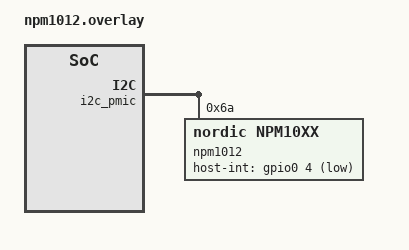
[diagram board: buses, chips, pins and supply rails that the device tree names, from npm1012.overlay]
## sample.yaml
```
# Copyright (c) 2023 Nordic Semiconductor ASA
# SPDX-License-Identifier: LicenseRef-Nordic-5-Clause
sample:
  name: Fuel gauge sample
  description: Fuel gauge sample for Nordic PMICs
common:
  integration_platforms:
    - nrf54l15dk/nrf54l15/cpuapp
  platform_allow:
    - nrf54l15dk/nrf54l15/cpuapp
  tags:
    - pmic
    - ci_samples_pmic
    - sysbuild
tests:
  sample.npm1300_fuel_gauge_compile:
    sysbuild: true
    build_only: true
    extra_args:
      - EXTRA_DTC_OVERLAY_FILE=npm1300.overlay
  sample.npm1304_fuel_gauge_compile:
    sysbuild: true
    build_only: true
    extra_args:
      - EXTRA_DTC_OVERLAY_FILE=npm1304.overlay
```

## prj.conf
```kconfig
# Copyright (c) 2023 Nordic Semiconductor ASA
# SPDX-License-Identifier: LicenseRef-Nordic-5-Clause

CONFIG_ASSERT=y

CONFIG_SHELL=y
CONFIG_LOG=y
CONFIG_LOG_CMDS=y
CONFIG_GPIO=y
CONFIG_REGULATOR=y
CONFIG_SENSOR=y
CONFIG_CHARGER=y
CONFIG_I2C_SHELL=y
CONFIG_FUEL_GAUGE=y
CONFIG_PM=y
CONFIG_PM_DEVICE=y
CONFIG_PM_DEVICE_SHELL=y

CONFIG_REQUIRES_FLOAT_PRINTF=y
CONFIG_MAIN_STACK_SIZE=1536
CONFIG_FLASH=y
CONFIG_FLASH_MAP=y
CONFIG_NVS=y
CONFIG_SETTINGS=y
CONFIG_SETTINGS_SHELL=y
CONFIG_NVS_LOOKUP_CACHE=y
CONFIG_SETTINGS_NVS_NAME_CACHE=y

CONFIG_DEBUG_OPTIMIZATIONS=y
```

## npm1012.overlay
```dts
/*
 * Copyright (c) 2025 Nordic Semiconductor ASA
 *
 * SPDX-License-Identifier: LicenseRef-Nordic-5-Clause
 */

#include <zephyr/dt-bindings/regulator/npm13xx.h>
#include <zephyr/dt-bindings/input/input-event-codes.h>

&i2c_pmic {
	npm1012: pmic@6a {
		reg = <0x6a>;
		compatible = "nordic,npm10xx";

		pmic-int-gpio-config = <2 (GPIO_ACTIVE_LOW | GPIO_OPEN_DRAIN)>;
		host-int-gpios = <&gpio0 4 (GPIO_ACTIVE_LOW | GPIO_PULL_UP)>;

		npm1012_charger: charger {
			compatible = "nordic,npm10xx-charger";
			charging-enable;
			term-voltage-microvolt = <4200000>;
			charge-current-microamp = <10000>;
			term-current-percent = "6.25%";

			/* (weak charger) add vbus-limit-microamp and vbusdpm-microvolt as needed */
		};

		npm1012_adc: adc {
			compatible = "nordic,npm10xx-adc";
			thermistor-beta = <3434>;
		};

		npm1012_gpio: gpio {
			compatible = "nordic,npm10xx-gpio";
			gpio-controller;
			#gpio-cells = <2>;
			ngpios = <3>;
		};

		npm1012_led: led {
			compatible = "nordic,npm10xx-led";

			charge_indicator: led0 {
				led-mode = "charge";
				index = <1>;
				label = "LED indicating charging connected to GPIO1";
			};
		};

		npm1012_watchdog: watchdog {
			compatible = "nordic,npm10xx-wdt";
		};
	};
};

/ {
	npm_fuel_gauge: fuel_gauge {
		compatible = "nordic,npm-fuel-gauge-secondary";

		sensor-device = <&npm1012_adc>;
		charger-device = <&npm1012_charger>;
		battery-model = "example_battery_20mAh";
		temperature-measurement = "ntc";
	};
};
```

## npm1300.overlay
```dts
/*
 * Copyright (c) 2025 Nordic Semiconductor ASA
 *
 * SPDX-License-Identifier: LicenseRef-Nordic-5-Clause
 */

#include <zephyr/dt-bindings/regulator/npm13xx.h>
#include <zephyr/dt-bindings/input/input-event-codes.h>

&i2c_pmic {
	npm1300: pmic@6b {
		compatible = "nordic,npm1300";
		reg = <0x6b>;

		host-int-gpios = <&gpio0 4 0>;
		pmic-int-pin = <3>;

		npm1300_charger: charger {
			compatible = "nordic,npm1300-charger";
			term-microvolt = <4150000>;
			term-warm-microvolt = <4000000>;
			current-microamp = <150000>;
			dischg-limit-microamp = <1000000>;
			vbus-limit-microamp = <500000>;
			thermistor-ohms = <10000>;
			thermistor-beta = <3380>;
			charging-enable;
		};

		npm1300_leds: leds {
			compatible = "nordic,npm1300-led";
			nordic,led0-mode = "error";
			nordic,led1-mode = "charging";
			nordic,led2-mode = "host";
		};
	};
};

/ {
	npm_fuel_gauge: fuel_gauge {
		compatible = "nordic,npm-fuel-gauge-secondary";

		sensor-device = <&npm1300_charger>;
		charger-device = <&npm1300_charger>;
		battery-model = "example_battery_300mAh";
		temperature-measurement = "ntc";
	};
};
```

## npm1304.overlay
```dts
/*
 * Copyright (c) 2025 Nordic Semiconductor ASA
 *
 * SPDX-License-Identifier: LicenseRef-Nordic-5-Clause
 */

#include <zephyr/dt-bindings/regulator/npm13xx.h>
#include <zephyr/dt-bindings/input/input-event-codes.h>

&i2c_pmic {
	npm1304: pmic@6b {
		compatible = "nordic,npm1304";
		reg = <0x6b>;

		host-int-gpios = <&gpio0 4 0>;
		pmic-int-pin = <3>;

		npm1304_charger: charger {
			compatible = "nordic,npm1304-charger";
			term-microvolt = <4150000>;
			term-warm-microvolt = <4000000>;
			current-microamp = <4000>;
			vbus-limit-microamp = <500000>;
			thermistor-ohms = <10000>;
			thermistor-beta = <3380>;
			charging-enable;
		};

		npm1304_leds: leds {
			compatible = "nordic,npm1304-led";
			nordic,led0-mode = "error";
			nordic,led1-mode = "charging";
			nordic,led2-mode = "host";
		};
	};
};

/ {
	npm_fuel_gauge: fuel_gauge {
		compatible = "nordic,npm-fuel-gauge-secondary";

		sensor-device = <&npm1304_charger>;
		charger-device = <&npm1304_charger>;
		battery-model = "example_battery_20mAh";
		temperature-measurement = "ntc";
	};
};
```

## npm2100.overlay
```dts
/*
 * Copyright (c) 2026 Nordic Semiconductor ASA
 *
 * SPDX-License-Identifier: LicenseRef-Nordic-5-Clause
 */

#include <dt-bindings/regulator/npm2100.h>

&i2c_pmic {
	npm2100: pmic@74 {
		compatible = "nordic,npm2100";
		reg = <0x74>;

		npm2100_gpio: gpio-controller {
			compatible = "nordic,npm2100-gpio";
			gpio-controller;
			#gpio-cells = <2>;
			ngpios = <2>;
		};

		npm2100_regulators: regulators {
			compatible = "nordic,npm2100-regulator";

			/* limits are set to min/max allowed values */
			npm2100_boost: BOOST {
				regulator-min-microvolt = <1800000>;
				regulator-max-microvolt = <3300000>;
				regulator-init-microamp = <0>;
			};

			npm2100_ldosw: LDOSW {
				regulator-min-microvolt = <800000>;
				regulator-max-microvolt = <3000000>;
			};
		};

		npm2100_wdt: watchdog {
			compatible = "nordic,npm2100-wdt";
		};

		npm2100_vbat: vbat {
			compatible = "nordic,npm2100-vbat";
		};
	};
};

/ {
	npm_fuel_gauge: fuel_gauge {
		compatible = "nordic,npm-fuel-gauge-primary";

		sensor-device = <&npm2100_vbat>;
		battery-model = "aa_alkaline";
		temperature-measurement = "die";
	};
};
```

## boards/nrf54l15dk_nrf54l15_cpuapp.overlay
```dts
/*
 * Copyright (c) 2024 Nordic Semiconductor ASA
 *
 * SPDX-License-Identifier: LicenseRef-Nordic-5-Clause
 */

&pinctrl {
	i2c21_default: i2c21_default {
		group1 {
			psels = <NRF_PSEL(TWIM_SDA, 1, 11)>,
				<NRF_PSEL(TWIM_SCL, 1, 12)>;
			bias-pull-up;
		};
	};

	i2c21_sleep: i2c21_sleep {
		group1 {
			psels = <NRF_PSEL(TWIM_SDA, 1, 11)>,
				<NRF_PSEL(TWIM_SCL, 1, 12)>;
			low-power-enable;
		};
	};
};

i2c_pmic: &i2c21 {
	status = "okay";
	pinctrl-0 = <&i2c21_default>;
	pinctrl-1 = <&i2c21_sleep>;
	pinctrl-names = "default", "sleep";
};
```

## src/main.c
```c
/*
 * Copyright (c) 2023 Nordic Semiconductor ASA
 * SPDX-License-Identifier: LicenseRef-Nordic-5-Clause
 */

#include <zephyr/kernel.h>
#include <zephyr/device.h>
#include <zephyr/settings/settings.h>

#include <drivers/fuel_gauge/npm_fuel_gauge.h>
#include <zephyr/drivers/fuel_gauge.h>

#include <zephyr/sys/printk.h>

#include <zephyr/logging/log.h>
LOG_MODULE_REGISTER(main);

static void print_measurements(const struct device *fg_dev)
{
	const fuel_gauge_prop_t props[] = {
		FUEL_GAUGE_VOLTAGE_UV,
		FUEL_GAUGE_TEMPERATURE_DK,
		FUEL_GAUGE_RELATIVE_STATE_OF_CHARGE_PCT,
#if !IS_ENABLED(CONFIG_DT_HAS_NORDIC_NPM2100_ENABLED)
		FUEL_GAUGE_CURRENT_UA,
#endif
	};
	union fuel_gauge_prop_val vals[ARRAY_SIZE(props)];
	int err;

	err = fuel_gauge_get_props(fg_dev, props, vals, ARRAY_SIZE(props));
	if (err) {
		LOG_ERR("Failed to get fuel gauge properties.");
		return;
	}

#if IS_ENABLED(CONFIG_DT_HAS_NORDIC_NPM2100_ENABLED)
	LOG_INF("v=%f, t=%f, soc=%d", (double)vals[0].voltage_uv / 1e6,
		(double)vals[1].temperature_dk / 1e1 - 273.15,
		vals[2].relative_state_of_charge_pct);
#else
	LOG_INF("v=%f, i=%f, t=%f, soc=%d", (double)vals[0].voltage_uv / 1e6,
		(double)vals[3].current_ua / 1e6, (double)vals[1].temperature_dk / 1e1 - 273.15,
		vals[2].relative_state_of_charge_pct);
#endif /* IS_ENABLED(CONFIG_DT_HAS_NORDIC_NPM2100_ENABLED) */
}

int main(void)
{
	int err;
	const struct device *fg_dev = DEVICE_DT_GET(DT_NODELABEL(npm_fuel_gauge));

	if (!device_is_ready(fg_dev)) {
		LOG_ERR("fuel gauge device not ready.");
		return 0;
	}

	if (IS_ENABLED(CONFIG_SETTINGS)) {
		err = settings_subsys_init();
		if (err < 0) {
			LOG_ERR("Settings subsystem could not be initialized.");
		}
	}

	LOG_INF("Fuel gauge device ok");

	while (1) {
		k_sleep(K_SECONDS(1));
		print_measurements(fg_dev);
	}
}
```
